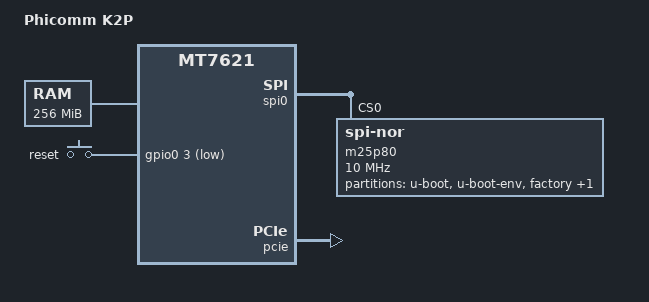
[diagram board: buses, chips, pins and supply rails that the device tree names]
/dts-v1/;

#include "mt7621.dtsi"

#include <dt-bindings/gpio/gpio.h>
#include <dt-bindings/input/input.h>

/ {
	compatible = "phicomm,k2p", "mediatek,mt7621-soc";
	model = "Phicomm K2P";

	aliases {
	};

	memory@0 {
		device_type = "memory";
		reg = <0x0 0x10000000>;
	};

	chosen {
		bootargs = "console=ttyS0,57600";
	};

	gpio-keys-polled {
		compatible = "gpio-keys-polled";
		poll-interval = <20>;

		reset {
			label = "reset";
			gpios = <&gpio0 3 GPIO_ACTIVE_LOW>;
			linux,code = <KEY_RESTART>;
		};
	};
};

&spi0 {
	status = "okay";

	m25p80@0 {
		compatible = "jedec,spi-nor";
		reg = <0>;
		spi-max-frequency = <10000000>;
		m25p,chunked-io = <32>;

		partitions {
			compatible = "fixed-partitions";
			#address-cells = <1>;
			#size-cells = <1>;

			partition@0 {
				label = "u-boot";
				reg = <0x0 0x40000>;
				read-only;
			};

			partition@40000 {
				label = "u-boot-env";
				reg = <0x40000 0x20000>;
				read-only;
			};

			factory: partition@60000 {
				label = "factory";
				reg = <0x60000 0x20000>;
				read-only;
			};

			partition@80000 {
				label = "firmware";
				reg = <0x80000 0x1F80000>;
			};
		};
	};
};

&pcie {
	status = "okay";
};

&pcie0 {
	mt76@0,0 {
		reg = <0x0000 0 0 0 0>;
		mediatek,mtd-eeprom = <&factory 0x0>;
		ieee80211-freq-limit = <5000000 6000000>;
	};
};

&ethernet {
	mtd-mac-address = <&factory 0xe006>;
};

&pinctrl {
	state_default: pinctrl0 {
		gpio {
			ralink,group = "i2c", "jtag";
			ralink,function = "gpio";
		};
	};
};
